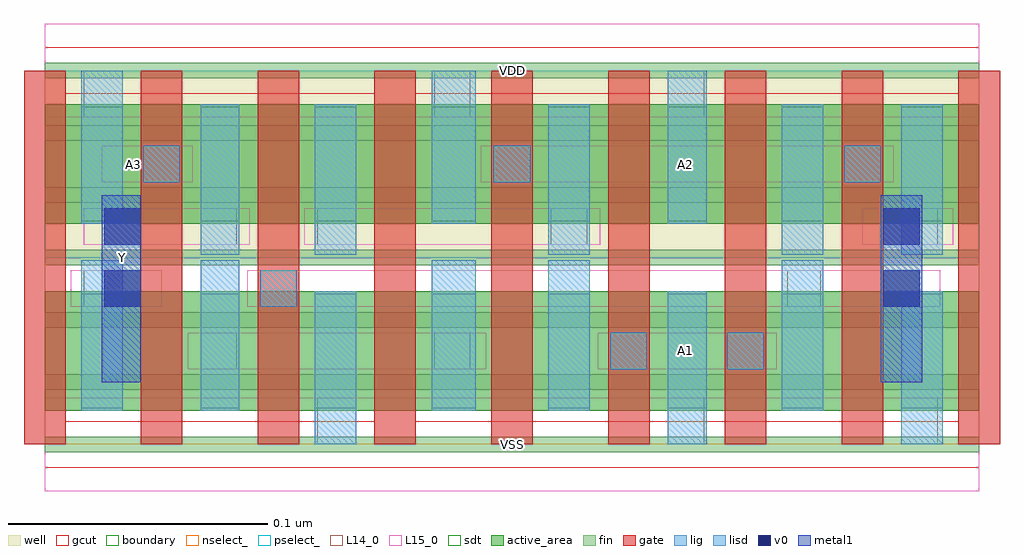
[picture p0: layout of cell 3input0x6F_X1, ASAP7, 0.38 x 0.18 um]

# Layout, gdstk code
import gdstk
lib = gdstk.Library(unit=1e-6, precision=1e-09)
def R(c, l, rs):  # rectangles x0, y0, x1, y1
    for r in rs: c.add(gdstk.rectangle(r[:2], r[2:], *l))
def A(c, l, x, y, w, h, nx, ny, dx, dy):  # array of equal rectangles
    R(c, l, [(x+i*dx, y+j*dy, x+i*dx+w, y+j*dy+h) for i in range(nx) for j in range(ny)])
def P(c, l, *ps):  # polygons
    for p in ps: c.add(gdstk.Polygon(p, *l))
well = (1, 0)
fin = (2, 0)
gate = (7, 0)
gcut = (10, 0)
active_area = (11, 0)
nselect_ = (12, 0)
pselect_ = (13, 0)
L14_0 = (14, 0)
L15_0 = (15, 0)
lig = (16, 0)
lisd = (17, 0)
v0 = (18, 0)
metal1 = (19, 0)
sdt = (88, 0)
boundary = (100, 0)

c_3input0x6f_x1 = lib.new_cell('3input0x6F_X1')
R(c_3input0x6f_x1, well, [(0,0.072,0.36,0.144)])
A(c_3input0x6f_x1, fin, 0, -0.003, 0.36, 0.006, 1, 7, 0, 0.024)
A(c_3input0x6f_x1, gate, -0.008, 0, 0.016, 0.144, 9, 1, 0.045, 0)
P(c_3input0x6f_x1, gcut, [(0,-0.009),(0,0),(-0.008,0),(-0.008,0.135),(0.008,0.135),(0.008,0.009),(0.127,0.009),(0.127,0.135),(0.143,0.135),(0.143,0.009),(0.352,0.009),(0.352,0.135),(-0.008,0.135),(-0.008,0.144),(0,0.144),(0,0.153),(0.36,0.153),(0.36,0.144),(0.368,0.144),(0.368,0),(0.36,0),(0.36,-0.009)])
R(c_3input0x6f_x1, active_area, [(0,0.013,0.36,0.059), (0,0.085,0.36,0.131)])
R(c_3input0x6f_x1, nselect_, [(0,0,0.36,0.072)])
R(c_3input0x6f_x1, pselect_, [(0,0.072,0.36,0.144)])
A(c_3input0x6f_x1, L14_0, 0.06, 0.077, 0.014, 0.014, 3, 1, 0.135, 0)
A(c_3input0x6f_x1, L14_0, 0.038, 0.101, 0.014, 0.014, 3, 1, 0.135, 0)
R(c_3input0x6f_x1, L14_0, [(0.105,0,0.12,0.018), (0.24,0,0.254,0.018), (0.33,0,0.344,0.018), (0.06,0.029,0.074,0.043), (0.15,0.029,0.164,0.043), (0.218,0.029,0.232,0.043), (0.263,0.029,0.277,0.043), (0.015,0.053,0.03,0.067), (0.083,0.053,0.097,0.067), (0.286,0.053,0.299,0.067), (0.105,0.077,0.12,0.091), (0.015,0.126,0.03,0.144), (0.15,0.126,0.164,0.144), (0.24,0.126,0.254,0.144)])
R(c_3input0x6f_x1, L15_0, [(0,-0.018,0.36,0.018), (0.055,0.029,0.17,0.043), (0.213,0.029,0.282,0.043), (0.01,0.053,0.045,0.067), (0.078,0.053,0.345,0.067), (0.015,0.077,0.079,0.091), (0.1,0.077,0.214,0.091), (0.315,0.077,0.35,0.091), (0.022,0.101,0.057,0.115), (0.168,0.101,0.327,0.115), (0,0.126,0.36,0.162)])
A(c_3input0x6f_x1, lig, 0.038, 0.101, 0.014, 0.014, 3, 1, 0.135, 0)
R(c_3input0x6f_x1, lig, [(0.218,0.029,0.232,0.043), (0.263,0.029,0.277,0.043), (0.083,0.053,0.097,0.067)])
A(c_3input0x6f_x1, lisd, 0.104, 0.073, 0.016, 0.058, 3, 1, 0.09, 0)
R(c_3input0x6f_x1, lisd, [(0.104,0,0.12,0.059), (0.24,0,0.255,0.059), (0.33,0,0.346,0.059), (0.014,0.013,0.03,0.071), (0.06,0.013,0.075,0.071), (0.149,0.013,0.166,0.071), (0.194,0.013,0.21,0.071), (0.284,0.013,0.3,0.071), (0.06,0.073,0.075,0.131), (0.33,0.073,0.346,0.131), (0.014,0.085,0.03,0.144), (0.149,0.085,0.166,0.144), (0.24,0.085,0.255,0.144)])
R(c_3input0x6f_x1, v0, [(0.023,0.053,0.037,0.067), (0.323,0.053,0.337,0.067), (0.023,0.077,0.037,0.091), (0.323,0.077,0.337,0.091)])
R(c_3input0x6f_x1, metal1, [(0.022,0.024,0.037,0.096), (0.322,0.024,0.338,0.096)])
A(c_3input0x6f_x1, sdt, 0.014, 0.014, 0.016, 0.044, 4, 2, 0.09, 0.072)
R(c_3input0x6f_x1, sdt, [(0.06,0.014,0.075,0.058), (0.149,0.014,0.166,0.058), (0.24,0.014,0.255,0.058), (0.33,0.014,0.346,0.058), (0.06,0.086,0.075,0.13), (0.149,0.086,0.166,0.13), (0.24,0.086,0.255,0.13), (0.33,0.086,0.346,0.13)])
R(c_3input0x6f_x1, boundary, [(0,0,0.36,0.144)])
c_3input0x6f_x1.add(gdstk.Label('A1', (0.247,0.036), layer=15, texttype=251))
c_3input0x6f_x1.add(gdstk.Label('VSS', (0.18,0), layer=15, texttype=251))
c_3input0x6f_x1.add(gdstk.Label('VDD', (0.18,0.144), layer=15, texttype=251))
c_3input0x6f_x1.add(gdstk.Label('VSS', (0.18,0), layer=15, texttype=251))
c_3input0x6f_x1.add(gdstk.Label('VDD', (0.18,0.144), layer=15, texttype=251))
c_3input0x6f_x1.add(gdstk.Label('A2', (0.247,0.108), layer=15, texttype=251))
c_3input0x6f_x1.add(gdstk.Label('VSS', (0.18,0), layer=15, texttype=251))
c_3input0x6f_x1.add(gdstk.Label('VDD', (0.18,0.144), layer=15, texttype=251))
c_3input0x6f_x1.add(gdstk.Label('A3', (0.034,0.108), layer=15, texttype=251))
c_3input0x6f_x1.add(gdstk.Label('VSS', (0.18,0), layer=15, texttype=251))
c_3input0x6f_x1.add(gdstk.Label('VDD', (0.18,0.144), layer=15, texttype=251))
c_3input0x6f_x1.add(gdstk.Label('VSS', (0.18,0), layer=3, texttype=251))
c_3input0x6f_x1.add(gdstk.Label('VSS', (0.18,0), layer=3, texttype=251))
c_3input0x6f_x1.add(gdstk.Label('VSS', (0.18,0), layer=3, texttype=251))
c_3input0x6f_x1.add(gdstk.Label('VSS', (0.18,0), layer=3, texttype=251))
c_3input0x6f_x1.add(gdstk.Label('VDD', (0.18,0.144), layer=1, texttype=251))
c_3input0x6f_x1.add(gdstk.Label('VDD', (0.18,0.144), layer=1, texttype=251))
c_3input0x6f_x1.add(gdstk.Label('VDD', (0.18,0.144), layer=1, texttype=251))
c_3input0x6f_x1.add(gdstk.Label('VDD', (0.18,0.144), layer=1, texttype=251))
c_3input0x6f_x1.add(gdstk.Label('Y', (0.03,0.072), layer=19, texttype=251))

lib.write_gds('3input0x6F_X1.gds')
